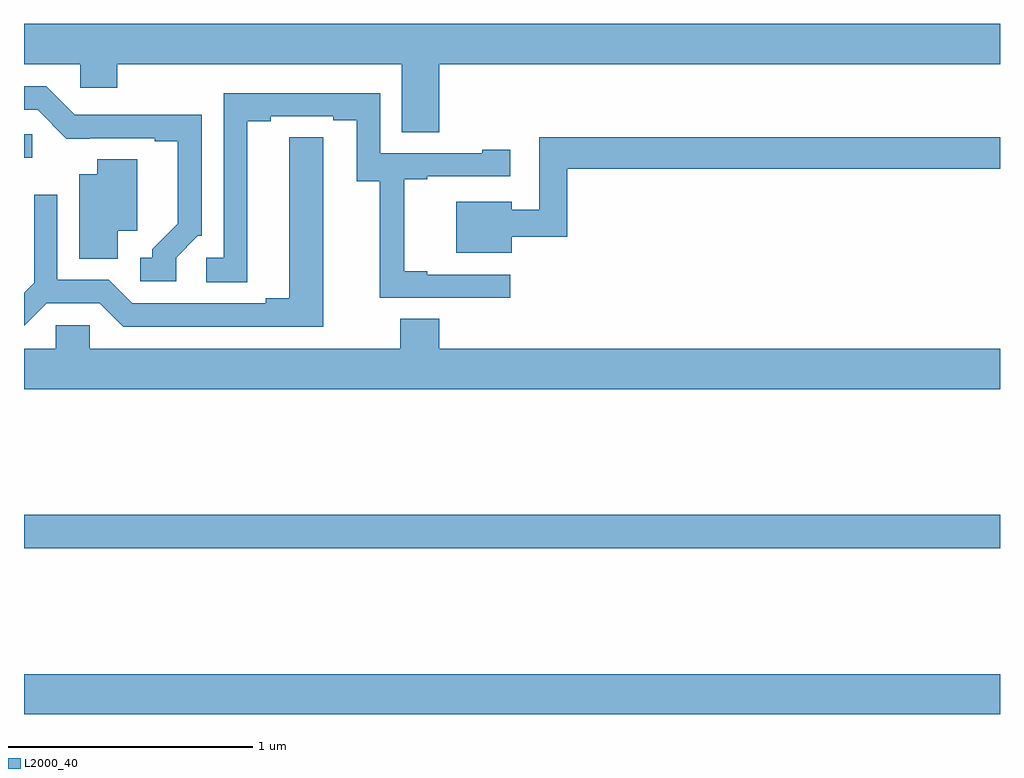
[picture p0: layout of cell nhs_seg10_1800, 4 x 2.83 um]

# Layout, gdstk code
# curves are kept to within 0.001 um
import gdstk
lib = gdstk.Library(unit=1e-6, precision=1e-09)
def R(c, l, rs):  # rectangles x0, y0, x1, y1
    for r in rs: c.add(gdstk.rectangle(r[:2], r[2:], *l))
def P(c, l, *ps):  # polygons
    for p in ps: c.add(gdstk.Polygon(p, *l))
L2000_40 = (2000, 40)

nhs_seg10_1800 = lib.new_cell('nhs_seg10_1800')
R(nhs_seg10_1800, L2000_40, [(205,1297.652,209,1297.816), (205,1298.332,209,1298.468), (205,1299.932,205.033,1300.029)])
P(nhs_seg10_1800, L2000_40, [(206.702,1300.316),(209,1300.316),(209,1300.48),(205,1300.48),(205,1300.316),(205.23,1300.316),(205.23,1300.218),(205.382,1300.218),(205.382,1300.316),(206.549,1300.316),(206.549,1300.036),(206.702,1300.036)],
  [(205.623,1299.522),(205.713,1299.612),(205.728,1299.612),(205.728,1300.109),(205.465,1300.109),(205.465,1300.107),(205.209,1300.107),(205.092,1300.224),(205,1300.224),(205,1300.128),(205.056,1300.128),(205.174,1300.01),(205.535,1300.011),(205.535,1299.999),(205.631,1299.999),(205.631,1299.662),(205.526,1299.557),(205.526,1299.522),(205.476,1299.522),(205.476,1299.426),(205.623,1299.426)],
  [(206.992,1299.453),(206.653,1299.453),(206.653,1299.466),(206.558,1299.466),(206.558,1299.843),(206.653,1299.843),(206.653,1299.855),(206.992,1299.855),(206.992,1299.964),(206.879,1299.964),(206.879,1299.951),(206.46,1299.951),(206.46,1300.197),(205.818,1300.197),(205.818,1299.522),(205.746,1299.522),(205.746,1299.421),(205.915,1299.421),(205.915,1300.081),(206.011,1300.081),(206.011,1300.101),(206.267,1300.101),(206.267,1300.086),(206.363,1300.086),(206.363,1299.835),(206.458,1299.835),(206.458,1299.357),(206.992,1299.357)],
  [(206.227,1299.908),(206.226,1300.016),(206.087,1300.016),(206.087,1299.356),(205.991,1299.356),(205.991,1299.336),(205.443,1299.336),(205.347,1299.432),(205.137,1299.432),(205.137,1299.781),(205.041,1299.781),(205.041,1299.42),(205,1299.379),(205,1299.243),(205.093,1299.336),(205.311,1299.336),(205.407,1299.24),(206.227,1299.24)],
  [(206.998,1299.609),(207.227,1299.609),(207.227,1299.886),(209,1299.886),(209,1300.015),(207.111,1300.015),(207.111,1299.718),(206.998,1299.718),(206.998,1299.751),(206.771,1299.751),(206.771,1299.542),(206.998,1299.542)],
  [(205.384,1299.632),(205.465,1299.632),(205.465,1299.926),(205.301,1299.926),(205.301,1299.865),(205.226,1299.865),(205.226,1299.517),(205.384,1299.517)],
  [(209,1299.148),(206.702,1299.148),(206.702,1299.272),(206.542,1299.272),(206.542,1299.148),(205.269,1299.148),(205.269,1299.246),(205.131,1299.246),(205.131,1299.148),(205,1299.148),(205,1298.984),(209,1298.984)])

lib.write_gds('nhs_seg10_1800.gds')
